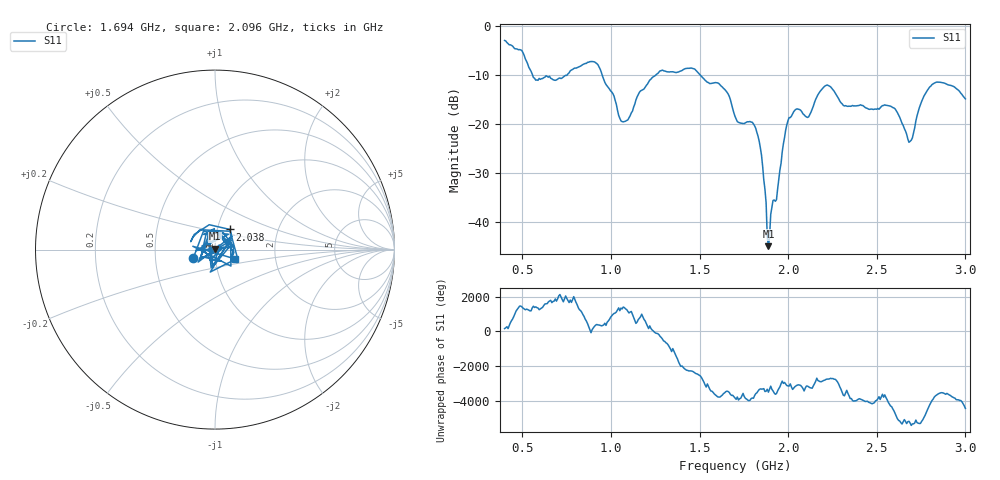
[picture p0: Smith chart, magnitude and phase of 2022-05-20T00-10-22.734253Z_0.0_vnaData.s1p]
!Created with skrf (http://scikit-rf.org).
# Hz S RI R 50.0
!freq ReS11 ImS11
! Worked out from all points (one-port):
!   401 points, 400 MHz to 3 GHz, reference 50 ohm
!   lowest |S11| = -45.0 dB at 1.889 GHz (marker M1), VSWR 1.01, Z = 49.9 + j0.554 ohm
!   |S11| at or under -10 dB: 558.2 MHz to 751.5 MHz (193.3 MHz wide, 29.5 % of centre); 951 MHz to 1.252 GHz (300.7 MHz wide, 27.3 % of centre); 1.506 GHz to end of sweep
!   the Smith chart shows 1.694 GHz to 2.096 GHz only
!   S11 on the Smith chart (normalised r, x): 1.694 GHz: 0.78, -0.08; 2.038 GHz: 1.15, +0.26; 2.096 GHz: 1.24, -0.13
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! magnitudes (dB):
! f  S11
! 400 MHz  -2.9
! 497.5 MHz  -4.9
! 575.5 MHz  -11.0
! 725 MHz  -10.5
! 913.5 MHz  -7.4
! 1.05 GHz  -18.8
! 1.095 GHz  -19.1
! 1.161 GHz  -13.5
! 1.271 GHz  -9.3
! 1.375 GHz  -9.4
! 1.609 GHz  -11.7
! 1.694 GHz  -17.7
! 1.7 GHz  -18.4
! 1.823 GHz  -21.7
! 1.849 GHz  -26.3
! 1.889 GHz  -45.0
! 1.94 GHz  -33.3
! 1.986 GHz  -21.2
! 2.025 GHz  -17.9
! 2.038 GHz  -17.1
! 2.096 GHz  -18.3
! 2.213 GHz  -12.1
! 2.35 GHz  -16.3
! 2.591 GHz  -16.6
! 2.675 GHz  -23.0
! 2.695 GHz  -23.3
! 2.825 GHz  -11.6
! 3 GHz  -14.8
